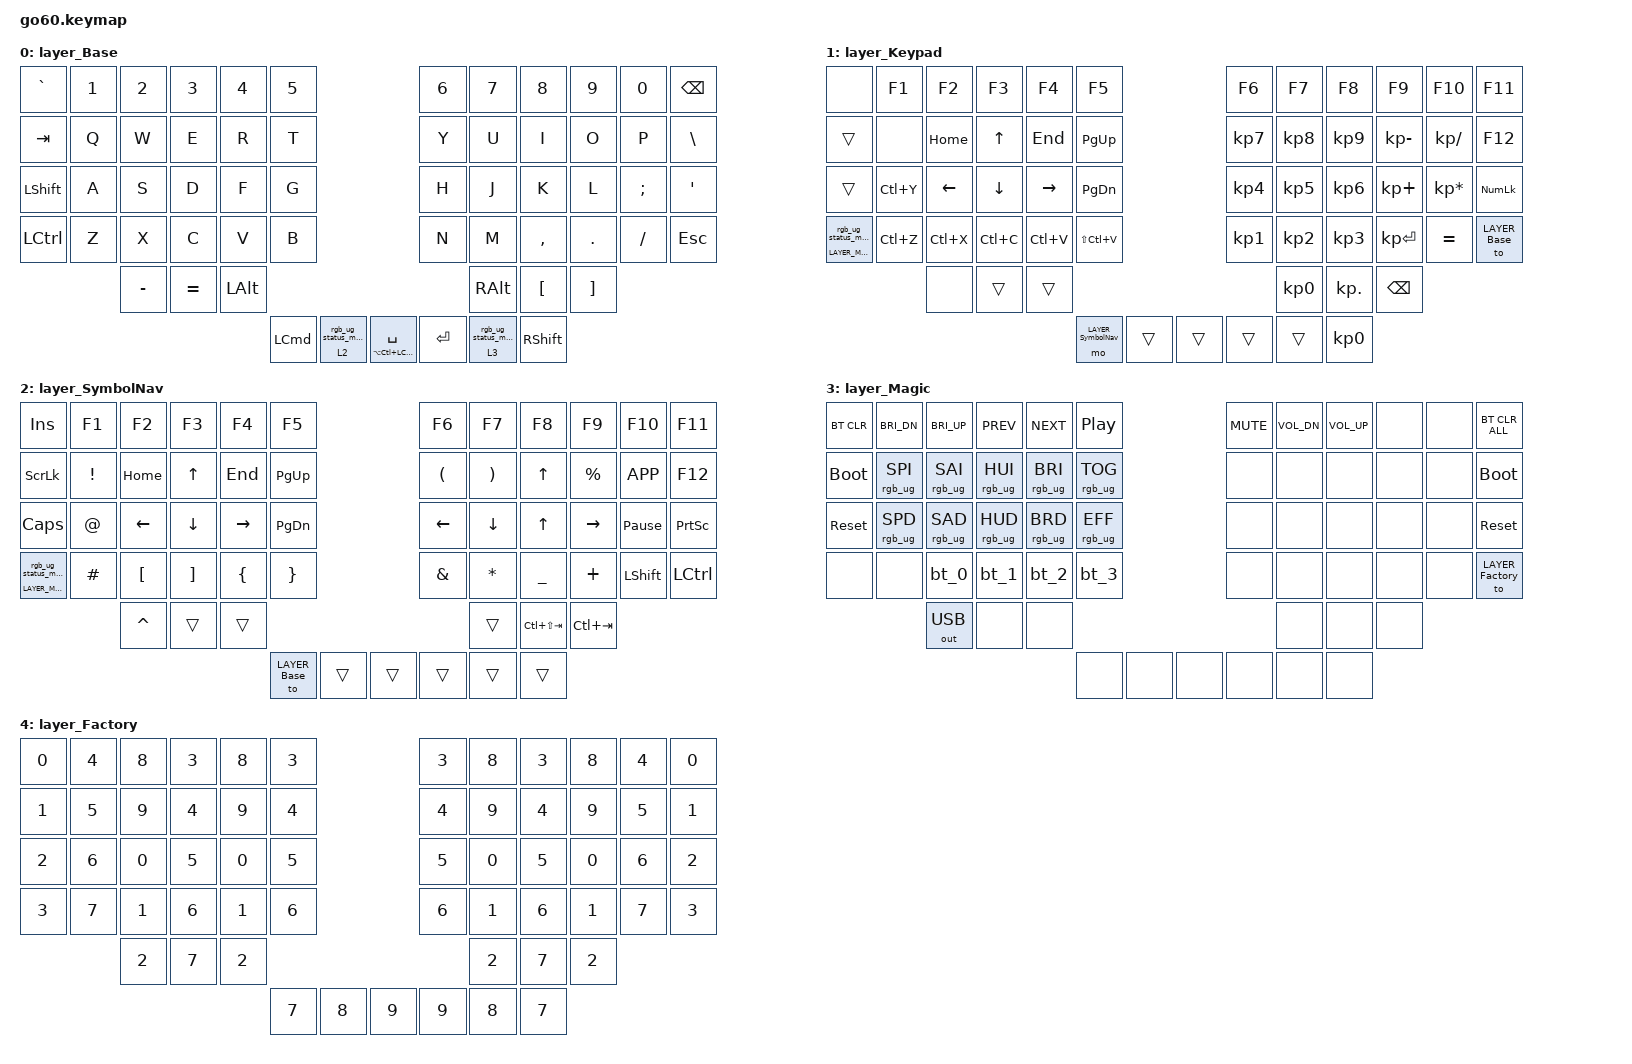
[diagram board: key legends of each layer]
/*
 * Copyright (c) 2020 The ZMK Contributors
 *
 * SPDX-License-Identifier: MIT
 */

#include <dt-bindings/zmk/input_transform.h>
#include <input/processors.dtsi>
#include <zephyr/dt-bindings/input/input-event-codes.h>
#include <behaviors.dtsi>
#include <dt-bindings/zmk/bt.h>
#include <dt-bindings/zmk/keys.h>
#include <dt-bindings/zmk/outputs.h>
#include <dt-bindings/zmk/rgb.h>

// layers

#define LAYER_Base 0
#define LAYER_Keypad 1
#define LAYER_SymbolNav 2
#define LAYER_Magic 3
#define LAYER_Factory 4

/ {
    input_processors {
        zip_click_to_right_click_mapper: zip_click_to_right_click_mapper {
            compatible = "zmk,input-processor-code-mapper";
            #input-processor-cells = <0>;
            type = <INPUT_EV_KEY>;
            map = <INPUT_BTN_0 INPUT_BTN_1>;
        };
    };

    behaviors {
        magic: magic {
            compatible = "zmk,behavior-hold-tap";
            #binding-cells = <2>;
            flavor = "tap-preferred";
            tapping-term-ms = <200>;
            bindings = <&mo>, <&rgb_ug_status_macro>;
        };

        keypad_td: keypad_td {
            compatible = "zmk,behavior-tap-dance";
            #binding-cells = <0>;
            tapping-term-ms = <200>;
            bindings = <&mo LAYER_Keypad>, <&to LAYER_Keypad>;
        };

        symbol_nav_td: symbol_nav_td {
            compatible = "zmk,behavior-tap-dance";
            #binding-cells = <0>;
            tapping-term-ms = <200>;
            bindings = <&mo LAYER_SymbolNav>, <&to LAYER_SymbolNav>;
        };

        bt_0: bt_0 {
            compatible = "zmk,behavior-tap-dance";
            #binding-cells = <0>;
            tapping-term-ms = <200>;
            bindings = <&bt_select_0>, <&bt BT_DISC 0>;
        };

        bt_1: bt_1 {
            compatible = "zmk,behavior-tap-dance";
            #binding-cells = <0>;
            tapping-term-ms = <200>;
            bindings = <&bt_select_1>, <&bt BT_DISC 1>;
        };

        bt_2: bt_2 {
            compatible = "zmk,behavior-tap-dance";
            #binding-cells = <0>;
            tapping-term-ms = <200>;
            bindings = <&bt_select_2>, <&bt BT_DISC 2>;
        };

        bt_3: bt_3 {
            compatible = "zmk,behavior-tap-dance";
            #binding-cells = <0>;
            tapping-term-ms = <200>;
            bindings = <&bt_select_3>, <&bt BT_DISC 3>;
        };
    };

    macros {
        rgb_ug_status_macro: rgb_ug_status_macro {
            compatible = "zmk,behavior-macro";
            #binding-cells = <0>;
            bindings = <&rgb_ug RGB_STATUS>;
        };

        bt_select_0: bt_select_0 {
            compatible = "zmk,behavior-macro";
            #binding-cells = <0>;
            bindings = <&out OUT_BLE &bt BT_SEL 0>;
        };

        bt_select_1: bt_select_1 {
            compatible = "zmk,behavior-macro";
            #binding-cells = <0>;
            bindings = <&out OUT_BLE &bt BT_SEL 1>;
        };

        bt_select_2: bt_select_2 {
            compatible = "zmk,behavior-macro";
            #binding-cells = <0>;
            bindings = <&out OUT_BLE &bt BT_SEL 2>;
        };

        bt_select_3: bt_select_3 {
            compatible = "zmk,behavior-macro";
            #binding-cells = <0>;
            bindings = <&out OUT_BLE &bt BT_SEL 3>;
        };
    };

    keymap {
        compatible = "zmk,keymap";

        layer_Base {
            bindings = <
&kp GRAVE       &kp N1  &kp N2     &kp N3     &kp N4        &kp N5                                                                                                        &kp N6  &kp N7         &kp N8     &kp N9    &kp N0    &kp BACKSPACE
&kp TAB         &kp Q   &kp W      &kp E      &kp R         &kp T                                                                                                         &kp Y   &kp U          &kp I      &kp O     &kp P     &kp BSLH
&kp LEFT_SHIFT  &kp A   &kp S      &kp D      &kp F         &kp G                                                                                                         &kp H   &kp J          &kp K      &kp L     &kp SEMI  &kp SQT
&kp LCTRL       &kp Z   &kp X      &kp C      &kp V         &kp B                                                                                                         &kp N   &kp M          &kp COMMA  &kp DOT   &kp FSLH  &kp ESCAPE
                        &kp MINUS  &kp EQUAL  &kp LEFT_ALT                                                                                                                        &kp RIGHT_ALT  &kp LBKT   &kp RBKT
                                                                    &kp LEFT_COMMAND  &magic 2 0  &mt LA(LC(LEFT_COMMAND)) SPACE  &kp ENTER  &magic 3 0  &kp RIGHT_SHIFT
            >;
        };

        layer_Keypad {
            bindings = <
&none                 &kp F1     &kp F2     &kp F3     &kp F4     &kp F5                                                                         &kp F6     &kp F7     &kp F8      &kp F9        &kp F10          &kp F11
&trans                &none      &kp HOME   &kp UP     &kp END    &kp PG_UP                                                                      &kp KP_N7  &kp KP_N8  &kp KP_N9   &kp KP_MINUS  &kp KP_SLASH     &kp F12
&trans                &kp LC(Y)  &kp LEFT   &kp DOWN   &kp RIGHT  &kp PG_DN                                                                      &kp KP_N4  &kp KP_N5  &kp KP_N6   &kp KP_PLUS   &kp KP_MULTIPLY  &kp KP_NUM
&magic LAYER_Magic 0  &kp LC(Z)  &kp LC(X)  &kp LC(C)  &kp LC(V)  &kp LS(LC(V))                                                                  &kp KP_N1  &kp KP_N2  &kp KP_N3   &kp KP_ENTER  &kp EQUAL        &to LAYER_Base
                                 &none      &trans     &trans                                                                                               &kp KP_N0  &kp KP_DOT  &kp BSPC
                                                                                 &mo LAYER_SymbolNav  &trans  &trans  &trans  &trans  &kp KP_N0
            >;
        };

        layer_SymbolNav {
            bindings = <
&kp INS               &kp F1    &kp F2     &kp F3    &kp F4     &kp F5                                                             &kp F6          &kp F7    &kp F8           &kp F9       &kp F10          &kp F11
&kp SLCK              &kp EXCL  &kp HOME   &kp UP    &kp END    &kp PG_UP                                                          &kp LPAR        &kp RPAR  &kp UP           &kp PRCNT    &kp K_APP        &kp F12
&kp CAPS              &kp AT    &kp LEFT   &kp DOWN  &kp RIGHT  &kp PG_DN                                                          &kp LEFT_ARROW  &kp DOWN  &kp UP_ARROW     &kp RIGHT    &kp PAUSE_BREAK  &kp PSCRN
&magic LAYER_Magic 0  &kp HASH  &kp LBKT   &kp RBKT  &kp LBRC   &kp RBRC                                                           &kp AMPS        &kp STAR  &kp UNDER        &kp PLUS     &kp LSHFT        &kp LCTRL
                                &kp CARET  &trans    &trans                                                                                        &trans    &kp LC(LS(TAB))  &kp LC(TAB)
                                                                           &to LAYER_Base  &trans  &trans  &trans  &trans  &trans
            >;
        };

        layer_Magic {
            bindings = <
&bt BT_CLR   &kp C_BRI_DN     &kp C_BRI_UP     &kp C_PREV       &kp C_NEXT       &kp C_PP                                                   &kp C_MUTE  &kp C_VOL_DN  &kp C_VOL_UP  &none  &none  &bt BT_CLR_ALL
&bootloader  &rgb_ug RGB_SPI  &rgb_ug RGB_SAI  &rgb_ug RGB_HUI  &rgb_ug RGB_BRI  &rgb_ug RGB_TOG                                            &none       &none         &none         &none  &none  &bootloader
&sys_reset   &rgb_ug RGB_SPD  &rgb_ug RGB_SAD  &rgb_ug RGB_HUD  &rgb_ug RGB_BRD  &rgb_ug RGB_EFF                                            &none       &none         &none         &none  &none  &sys_reset
&none        &none            &bt_0            &bt_1            &bt_2            &bt_3                                                      &none       &none         &none         &none  &none  &to LAYER_Factory
                              &out OUT_USB     &none            &none                                                                                   &none         &none         &none
                                                                                                  &none  &none  &none  &none  &none  &none
            >;
        };

        layer_Factory {
            bindings = <
&kp N0  &kp N4  &kp N8  &kp N3  &kp N8  &kp N3                                                  &kp N3  &kp N8  &kp N3  &kp N8  &kp N4  &kp N0
&kp N1  &kp N5  &kp N9  &kp N4  &kp N9  &kp N4                                                  &kp N4  &kp N9  &kp N4  &kp N9  &kp N5  &kp N1
&kp N2  &kp N6  &kp N0  &kp N5  &kp N0  &kp N5                                                  &kp N5  &kp N0  &kp N5  &kp N0  &kp N6  &kp N2
&kp N3  &kp N7  &kp N1  &kp N6  &kp N1  &kp N6                                                  &kp N6  &kp N1  &kp N6  &kp N1  &kp N7  &kp N3
                &kp N2  &kp N7  &kp N2                                                                  &kp N2  &kp N7  &kp N2
                                                &kp N7  &kp N8  &kp N9  &kp N9  &kp N8  &kp N7
            >;
        };
    };
};

&cirque_rh_listener {
    input-processors = <&zip_xy_scaler 3 1>;

    layer_2 {
        layers = <2>;
        input-processors = <&zip_xy_scaler 9 1>;
    };
};

&cirque_lh_listener {
    input-processors =
        <&zip_xy_to_scroll_mapper>,
        <&zip_xy_scaler 1 8>,
        <&zip_click_to_right_click_mapper>;

    layer_4 {
        layers = <4>;
        input-processors = <&zip_xy_scaler 3 1>;
    };
};
